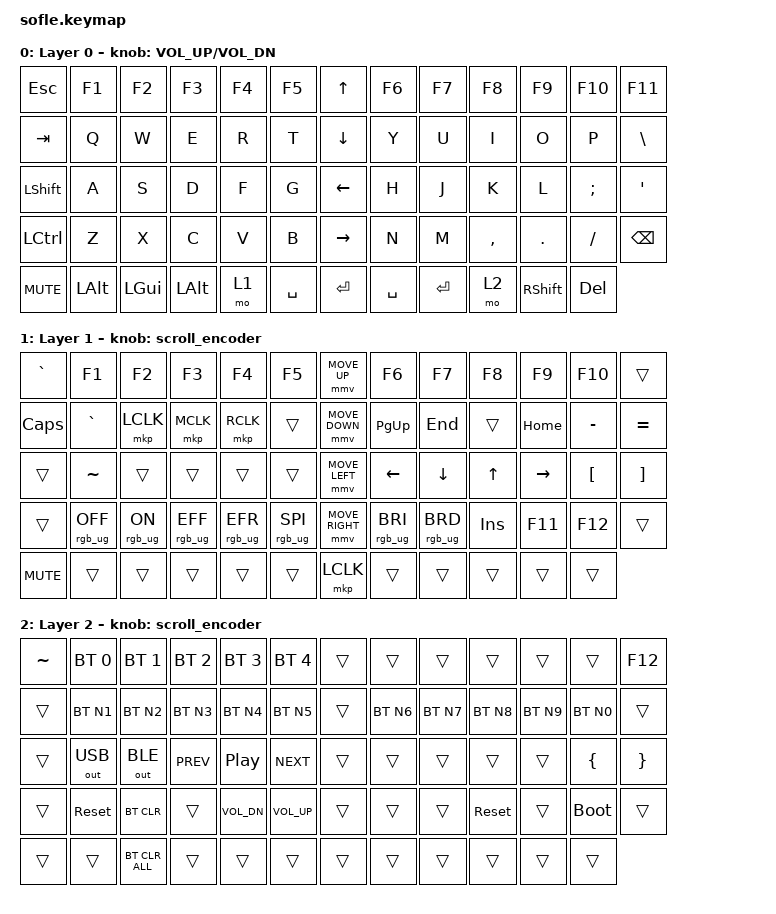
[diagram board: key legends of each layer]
#include <behaviors/mouse_keys.dtsi>
#include <behaviors.dtsi>
#include <dt-bindings/zmk/bt.h>
#include <dt-bindings/zmk/keys.h>
#include <dt-bindings/zmk/mouse.h>
#include <dt-bindings/zmk/outputs.h>
#include <dt-bindings/zmk/rgb.h>

#define ZMK_MOUSE_DEFAULT_MOVE_VAL 1200  // 600
#define ZMK_MOUSE_DEFAULT_SCRL_VAL 20    // 10
#define U_MS_U &mmv MOVE_UP
#define U_MS_D &mmv MOVE_DOWN
#define U_MS_L &mmv MOVE_LEFT
#define U_MS_R &mmv MOVE_RIGHT

/ {
    behaviors {
        mmv {
            acceleration-exponent = <1>;      // 1
            time-to-max-speed-ms = <900>;    // 40
            delay-ms = <0>;                  // 0
        };

        msc {
            acceleration-exponent = <1>;      // 0
            time-to-max-speed-ms = <400>;    // 500
            delay-ms = <0>;                  // 10
        };
    };

    scroll_encoder: scroll_encoder {
        compatible = "zmk,behavior-sensor-rotate";
        #sensor-binding-cells = <0>;
        bindings = <&msc SCRL_DOWN>, <&msc SCRL_UP>;

        tap-ms = <30>;
    };

    keymap {
        compatible = "zmk,keymap";

        layer0 {
            bindings = <
                &kp ESC          &kp F1           &kp F2           &kp F3           &kp F4           &kp F5           &kp UP_ARROW      &kp F6           &kp F7           &kp F8           &kp F9           &kp F10          &kp F11
                &kp TAB          &kp Q            &kp W            &kp E            &kp R            &kp T            &kp DOWN_ARROW    &kp Y            &kp U            &kp I            &kp O            &kp P            &kp BSLH
                &kp LSHFT        &kp A            &kp S            &kp D            &kp F            &kp G            &kp LEFT_ARROW    &kp H            &kp J            &kp K            &kp L            &kp SEMI         &kp APOS
                &kp LCTRL        &kp Z            &kp X            &kp C            &kp V            &kp B            &kp RIGHT_ARROW   &kp N            &kp M            &kp COMMA        &kp DOT          &kp FSLH         &kp BACKSPACE
                &kp C_MUTE       &kp LEFT_ALT     &kp LEFT_GUI     &kp LEFT_ALT     &mo 1            &kp SPACE        &kp ENTER         &kp SPACE        &kp ENTER        &mo 2            &kp RIGHT_SHIFT  &kp DELETE
            >;

            sensor-bindings = <&inc_dec_kp C_VOLUME_UP C_VOL_DN>;
            display-name = "Layer 0";
        };

        layer_1 {
            bindings = <
                &kp GRAVE        &kp F1           &kp F2           &kp F3           &kp F4           &kp F5           &mmv MOVE_UP      &kp F6           &kp F7           &kp F8           &kp F9           &kp F10          &trans
                &kp CAPS         &kp GRAVE        &mkp LCLK        &mkp MCLK        &mkp RCLK        &trans           &mmv MOVE_DOWN    &kp PG_UP        &kp END          &trans        &kp HOME         &kp MINUS        &kp EQUAL
                &trans           &kp TILDE        &trans           &trans           &trans           &trans           &mmv MOVE_LEFT    &kp LEFT         &kp DOWN         &kp UP           &kp RIGHT        &kp LEFT_BRACKET &kp RIGHT_BRACKET
                &trans           &rgb_ug RGB_OFF  &rgb_ug RGB_ON   &rgb_ug RGB_EFF  &rgb_ug RGB_EFR  &rgb_ug RGB_SPI  &mmv MOVE_RIGHT   &rgb_ug RGB_BRI  &rgb_ug RGB_BRD  &kp INSERT       &kp F11          &kp F12          &trans
                &kp C_MUTE       &trans           &trans           &trans           &trans           &trans           &mkp LCLK         &trans           &trans           &trans           &trans           &trans
            >;

            display-name = "Layer 1";
            sensor-bindings = <&scroll_encoder>;
        };

        layer_2 {
            bindings = <
                &kp TILDE        &bt BT_SEL 0     &bt BT_SEL 1     &bt BT_SEL 2     &bt BT_SEL 3     &bt BT_SEL 4     &trans            &trans           &trans           &trans           &trans           &trans           &kp F12
                &trans           &bt N1           &bt N2           &bt N3           &bt N4           &bt N5           &trans            &bt N6           &bt N7           &bt N8           &bt N9           &bt N0           &trans
                &trans           &out OUT_USB     &out OUT_BLE     &kp C_PREV       &kp C_PP         &kp C_NEXT       &trans            &trans           &trans           &trans           &trans           &kp LBRC         &kp RBRC
                &trans           &sys_reset       &bt BT_CLR       &trans           &kp C_VOL_DN     &kp C_VOL_UP     &trans            &trans           &trans           &sys_reset       &trans           &bootloader      &trans
                &trans           &trans           &bt BT_CLR_ALL   &trans           &trans           &trans           &trans            &trans           &trans           &trans           &trans           &trans
            >;

            display-name = "Layer 2";
            sensor-bindings = <&scroll_encoder>;
        };
    };
};

